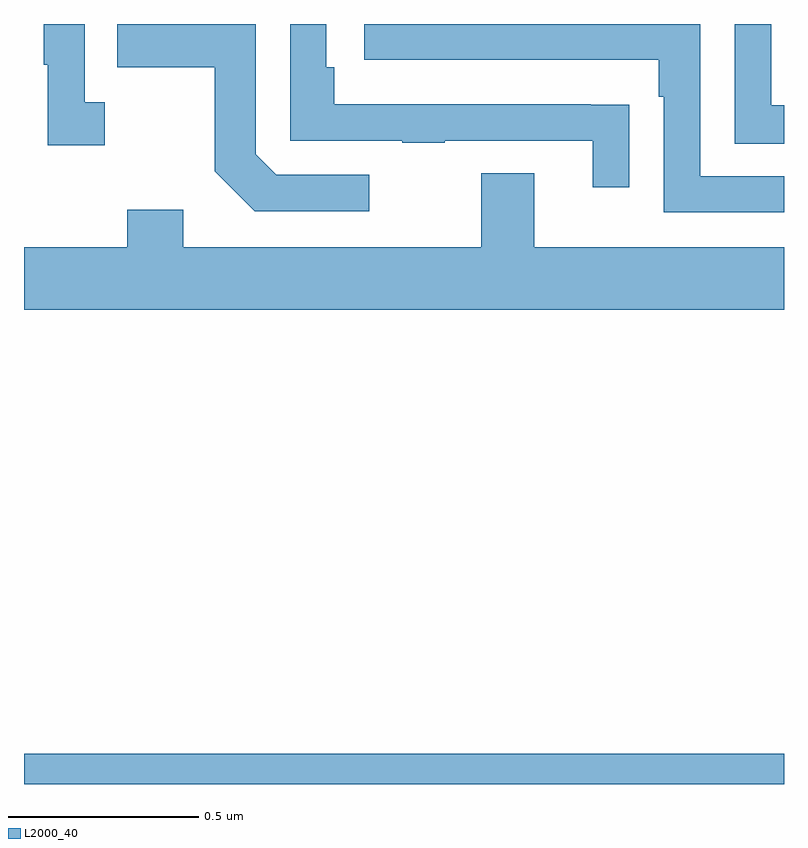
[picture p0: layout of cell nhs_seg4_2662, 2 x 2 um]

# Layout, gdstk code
import gdstk
lib = gdstk.Library(unit=1e-6, precision=1e-09)
def R(c, l, rs):  # rectangles x0, y0, x1, y1
    for r in rs: c.add(gdstk.rectangle(r[:2], r[2:], *l))
def P(c, l, *ps):  # polygons
    for p in ps: c.add(gdstk.Polygon(p, *l))
L2000_40 = (2000, 40)

nhs_seg4_2662 = lib.new_cell('nhs_seg4_2662')
R(nhs_seg4_2662, L2000_40, [(143,800.9,145,800.98)])
P(nhs_seg4_2662, L2000_40, [(143.908,802.503),(143.664,802.503),(143.61,802.557),(143.61,802.9),(143.245,802.9),(143.245,802.786),(143.502,802.786),(143.502,802.513),(143.607,802.407),(143.908,802.407)],
  [(144.593,802.688),(144.491,802.688),(144.491,802.689),(143.816,802.689),(143.816,802.786),(143.796,802.786),(143.796,802.9),(143.7,802.9),(143.7,802.593),(143.995,802.593),(143.995,802.588),(144.107,802.588),(144.107,802.593),(144.497,802.593),(144.497,802.47),(144.593,802.47)],
  [(145,802.686),(144.966,802.686),(144.966,802.9),(144.87,802.9),(144.87,802.585),(145,802.585)],
  [(145,802.5),(144.78,802.5),(144.78,802.9),(143.895,802.9),(143.895,802.806),(144.671,802.806),(144.671,802.709),(144.684,802.709),(144.684,802.404),(145,802.404)],
  [(143.212,802.694),(143.16,802.694),(143.16,802.9),(143.052,802.9),(143.052,802.793),(143.063,802.793),(143.063,802.581),(143.212,802.581)],
  [(145,802.312),(144.343,802.312),(144.343,802.507),(144.203,802.507),(144.203,802.312),(143.419,802.312),(143.419,802.411),(143.272,802.411),(143.272,802.312),(143,802.312),(143,802.148),(145,802.148)])

lib.write_gds('nhs_seg4_2662.gds')
